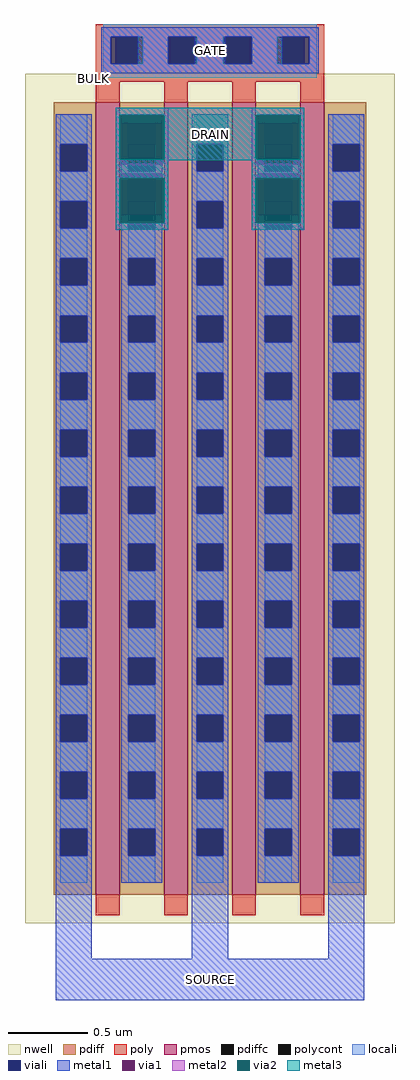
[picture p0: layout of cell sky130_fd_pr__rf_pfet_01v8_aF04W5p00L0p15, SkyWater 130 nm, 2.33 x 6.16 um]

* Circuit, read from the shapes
.subckt sky130_fd_pr__rf_pfet_01v8_aF04W5p00L0p15 DRAIN GATE SOURCE BULK
XM1 DRAIN GATE SOURCE BULK sky130_fd_pr__pfet_01v8 w=5 l=0.15 m=4
.ends

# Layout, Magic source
magic
tech sky130A
magscale 1 2
<< nwell >>
rect 0 0 466 1072
<< pmos >>
rect 89 36 119 1036
rect 175 36 205 1036
rect 261 36 291 1036
rect 347 36 377 1036
<< pdiff >>
rect 36 983 89 1036
rect 36 949 44 983
rect 78 949 89 983
rect 36 911 89 949
rect 36 877 44 911
rect 78 877 89 911
rect 36 839 89 877
rect 36 805 44 839
rect 78 805 89 839
rect 36 767 89 805
rect 36 733 44 767
rect 78 733 89 767
rect 36 695 89 733
rect 36 661 44 695
rect 78 661 89 695
rect 36 623 89 661
rect 36 589 44 623
rect 78 589 89 623
rect 36 551 89 589
rect 36 517 44 551
rect 78 517 89 551
rect 36 479 89 517
rect 36 445 44 479
rect 78 445 89 479
rect 36 407 89 445
rect 36 373 44 407
rect 78 373 89 407
rect 36 335 89 373
rect 36 301 44 335
rect 78 301 89 335
rect 36 263 89 301
rect 36 229 44 263
rect 78 229 89 263
rect 36 191 89 229
rect 36 157 44 191
rect 78 157 89 191
rect 36 119 89 157
rect 36 85 44 119
rect 78 85 89 119
rect 36 36 89 85
rect 119 983 175 1036
rect 119 949 130 983
rect 164 949 175 983
rect 119 911 175 949
rect 119 877 130 911
rect 164 877 175 911
rect 119 839 175 877
rect 119 805 130 839
rect 164 805 175 839
rect 119 767 175 805
rect 119 733 130 767
rect 164 733 175 767
rect 119 695 175 733
rect 119 661 130 695
rect 164 661 175 695
rect 119 623 175 661
rect 119 589 130 623
rect 164 589 175 623
rect 119 551 175 589
rect 119 517 130 551
rect 164 517 175 551
rect 119 479 175 517
rect 119 445 130 479
rect 164 445 175 479
rect 119 407 175 445
rect 119 373 130 407
rect 164 373 175 407
rect 119 335 175 373
rect 119 301 130 335
rect 164 301 175 335
rect 119 263 175 301
rect 119 229 130 263
rect 164 229 175 263
rect 119 191 175 229
rect 119 157 130 191
rect 164 157 175 191
rect 119 119 175 157
rect 119 85 130 119
rect 164 85 175 119
rect 119 36 175 85
rect 205 983 261 1036
rect 205 949 216 983
rect 250 949 261 983
rect 205 911 261 949
rect 205 877 216 911
rect 250 877 261 911
rect 205 839 261 877
rect 205 805 216 839
rect 250 805 261 839
rect 205 767 261 805
rect 205 733 216 767
rect 250 733 261 767
rect 205 695 261 733
rect 205 661 216 695
rect 250 661 261 695
rect 205 623 261 661
rect 205 589 216 623
rect 250 589 261 623
rect 205 551 261 589
rect 205 517 216 551
rect 250 517 261 551
rect 205 479 261 517
rect 205 445 216 479
rect 250 445 261 479
rect 205 407 261 445
rect 205 373 216 407
rect 250 373 261 407
rect 205 335 261 373
rect 205 301 216 335
rect 250 301 261 335
rect 205 263 261 301
rect 205 229 216 263
rect 250 229 261 263
rect 205 191 261 229
rect 205 157 216 191
rect 250 157 261 191
rect 205 119 261 157
rect 205 85 216 119
rect 250 85 261 119
rect 205 36 261 85
rect 291 983 347 1036
rect 291 949 302 983
rect 336 949 347 983
rect 291 911 347 949
rect 291 877 302 911
rect 336 877 347 911
rect 291 839 347 877
rect 291 805 302 839
rect 336 805 347 839
rect 291 767 347 805
rect 291 733 302 767
rect 336 733 347 767
rect 291 695 347 733
rect 291 661 302 695
rect 336 661 347 695
rect 291 623 347 661
rect 291 589 302 623
rect 336 589 347 623
rect 291 551 347 589
rect 291 517 302 551
rect 336 517 347 551
rect 291 479 347 517
rect 291 445 302 479
rect 336 445 347 479
rect 291 407 347 445
rect 291 373 302 407
rect 336 373 347 407
rect 291 335 347 373
rect 291 301 302 335
rect 336 301 347 335
rect 291 263 347 301
rect 291 229 302 263
rect 336 229 347 263
rect 291 191 347 229
rect 291 157 302 191
rect 336 157 347 191
rect 291 119 347 157
rect 291 85 302 119
rect 336 85 347 119
rect 291 36 347 85
rect 377 983 430 1036
rect 377 949 388 983
rect 422 949 430 983
rect 377 911 430 949
rect 377 877 388 911
rect 422 877 430 911
rect 377 839 430 877
rect 377 805 388 839
rect 422 805 430 839
rect 377 767 430 805
rect 377 733 388 767
rect 422 733 430 767
rect 377 695 430 733
rect 377 661 388 695
rect 422 661 430 695
rect 377 623 430 661
rect 377 589 388 623
rect 422 589 430 623
rect 377 551 430 589
rect 377 517 388 551
rect 422 517 430 551
rect 377 479 430 517
rect 377 445 388 479
rect 422 445 430 479
rect 377 407 430 445
rect 377 373 388 407
rect 422 373 430 407
rect 377 335 430 373
rect 377 301 388 335
rect 422 301 430 335
rect 377 263 430 301
rect 377 229 388 263
rect 422 229 430 263
rect 377 191 430 229
rect 377 157 388 191
rect 422 157 430 191
rect 377 119 430 157
rect 377 85 388 119
rect 422 85 430 119
rect 377 36 430 85
<< pdiffc >>
rect 44 949 78 983
rect 44 877 78 911
rect 44 805 78 839
rect 44 733 78 767
rect 44 661 78 695
rect 44 589 78 623
rect 44 517 78 551
rect 44 445 78 479
rect 44 373 78 407
rect 44 301 78 335
rect 44 229 78 263
rect 44 157 78 191
rect 44 85 78 119
rect 130 949 164 983
rect 130 877 164 911
rect 130 805 164 839
rect 130 733 164 767
rect 130 661 164 695
rect 130 589 164 623
rect 130 517 164 551
rect 130 445 164 479
rect 130 373 164 407
rect 130 301 164 335
rect 130 229 164 263
rect 130 157 164 191
rect 130 85 164 119
rect 216 949 250 983
rect 216 877 250 911
rect 216 805 250 839
rect 216 733 250 767
rect 216 661 250 695
rect 216 589 250 623
rect 216 517 250 551
rect 216 445 250 479
rect 216 373 250 407
rect 216 301 250 335
rect 216 229 250 263
rect 216 157 250 191
rect 216 85 250 119
rect 302 949 336 983
rect 302 877 336 911
rect 302 805 336 839
rect 302 733 336 767
rect 302 661 336 695
rect 302 589 336 623
rect 302 517 336 551
rect 302 445 336 479
rect 302 373 336 407
rect 302 301 336 335
rect 302 229 336 263
rect 302 157 336 191
rect 302 85 336 119
rect 388 949 422 983
rect 388 877 422 911
rect 388 805 422 839
rect 388 733 422 767
rect 388 661 422 695
rect 388 589 422 623
rect 388 517 422 551
rect 388 445 422 479
rect 388 373 422 407
rect 388 301 422 335
rect 388 229 422 263
rect 388 157 422 191
rect 388 85 422 119
<< poly >>
rect 89 1119 377 1135
rect 89 1085 114 1119
rect 148 1085 182 1119
rect 216 1085 250 1119
rect 284 1085 318 1119
rect 352 1085 377 1119
rect 89 1062 377 1085
rect 89 1036 119 1062
rect 175 1036 205 1062
rect 261 1036 291 1062
rect 347 1036 377 1062
rect 89 10 119 36
rect 175 10 205 36
rect 261 10 291 36
rect 347 10 377 36
<< polycont >>
rect 114 1085 148 1119
rect 182 1085 216 1119
rect 250 1085 284 1119
rect 318 1085 352 1119
<< locali >>
rect 98 1119 368 1135
rect 98 1085 108 1119
rect 148 1085 180 1119
rect 216 1085 250 1119
rect 286 1085 318 1119
rect 358 1085 368 1119
rect 98 1067 368 1085
rect 44 983 78 1021
rect 44 911 78 949
rect 44 839 78 877
rect 44 767 78 805
rect 44 695 78 733
rect 44 623 78 661
rect 44 551 78 589
rect 44 479 78 517
rect 44 407 78 445
rect 44 335 78 373
rect 44 263 78 301
rect 44 191 78 229
rect 44 119 78 157
rect 44 51 78 85
rect 130 983 164 1021
rect 130 911 164 949
rect 130 839 164 877
rect 130 767 164 805
rect 130 695 164 733
rect 130 623 164 661
rect 130 551 164 589
rect 130 479 164 517
rect 130 407 164 445
rect 130 335 164 373
rect 130 263 164 301
rect 130 191 164 229
rect 130 119 164 157
rect 130 51 164 85
rect 216 983 250 1021
rect 216 911 250 949
rect 216 839 250 877
rect 216 767 250 805
rect 216 695 250 733
rect 216 623 250 661
rect 216 551 250 589
rect 216 479 250 517
rect 216 407 250 445
rect 216 335 250 373
rect 216 263 250 301
rect 216 191 250 229
rect 216 119 250 157
rect 216 51 250 85
rect 302 983 336 1021
rect 302 911 336 949
rect 302 839 336 877
rect 302 767 336 805
rect 302 695 336 733
rect 302 623 336 661
rect 302 551 336 589
rect 302 479 336 517
rect 302 407 336 445
rect 302 335 336 373
rect 302 263 336 301
rect 302 191 336 229
rect 302 119 336 157
rect 302 51 336 85
rect 388 983 422 1021
rect 388 911 422 949
rect 388 839 422 877
rect 388 767 422 805
rect 388 695 422 733
rect 388 623 422 661
rect 388 551 422 589
rect 388 479 422 517
rect 388 407 422 445
rect 388 335 422 373
rect 388 263 422 301
rect 388 191 422 229
rect 388 119 422 157
rect 388 51 422 85
<< viali >>
rect 108 1085 114 1119
rect 114 1085 142 1119
rect 180 1085 182 1119
rect 182 1085 214 1119
rect 252 1085 284 1119
rect 284 1085 286 1119
rect 324 1085 352 1119
rect 352 1085 358 1119
rect 44 949 78 983
rect 44 877 78 911
rect 44 805 78 839
rect 44 733 78 767
rect 44 661 78 695
rect 44 589 78 623
rect 44 517 78 551
rect 44 445 78 479
rect 44 373 78 407
rect 44 301 78 335
rect 44 229 78 263
rect 44 157 78 191
rect 44 85 78 119
rect 130 949 164 983
rect 130 877 164 911
rect 130 805 164 839
rect 130 733 164 767
rect 130 661 164 695
rect 130 589 164 623
rect 130 517 164 551
rect 130 445 164 479
rect 130 373 164 407
rect 130 301 164 335
rect 130 229 164 263
rect 130 157 164 191
rect 130 85 164 119
rect 216 949 250 983
rect 216 877 250 911
rect 216 805 250 839
rect 216 733 250 767
rect 216 661 250 695
rect 216 589 250 623
rect 216 517 250 551
rect 216 445 250 479
rect 216 373 250 407
rect 216 301 250 335
rect 216 229 250 263
rect 216 157 250 191
rect 216 85 250 119
rect 302 949 336 983
rect 302 877 336 911
rect 302 805 336 839
rect 302 733 336 767
rect 302 661 336 695
rect 302 589 336 623
rect 302 517 336 551
rect 302 445 336 479
rect 302 373 336 407
rect 302 301 336 335
rect 302 229 336 263
rect 302 157 336 191
rect 302 85 336 119
rect 388 949 422 983
rect 388 877 422 911
rect 388 805 422 839
rect 388 733 422 767
rect 388 661 422 695
rect 388 589 422 623
rect 388 517 422 551
rect 388 445 422 479
rect 388 373 422 407
rect 388 301 422 335
rect 388 229 422 263
rect 388 157 422 191
rect 388 85 422 119
<< metal1 >>
rect 96 1119 370 1131
rect 96 1085 108 1119
rect 142 1085 180 1119
rect 214 1085 252 1119
rect 286 1085 324 1119
rect 358 1085 370 1119
rect 96 1073 370 1085
rect 38 983 84 1021
rect 38 949 44 983
rect 78 949 84 983
rect 38 911 84 949
rect 38 877 44 911
rect 78 877 84 911
rect 38 839 84 877
rect 38 805 44 839
rect 78 805 84 839
rect 38 767 84 805
rect 38 733 44 767
rect 78 733 84 767
rect 38 695 84 733
rect 38 661 44 695
rect 78 661 84 695
rect 38 623 84 661
rect 38 589 44 623
rect 78 589 84 623
rect 38 551 84 589
rect 38 517 44 551
rect 78 517 84 551
rect 38 479 84 517
rect 38 445 44 479
rect 78 445 84 479
rect 38 407 84 445
rect 38 373 44 407
rect 78 373 84 407
rect 38 335 84 373
rect 38 301 44 335
rect 78 301 84 335
rect 38 263 84 301
rect 38 229 44 263
rect 78 229 84 263
rect 38 191 84 229
rect 38 157 44 191
rect 78 157 84 191
rect 38 119 84 157
rect 38 85 44 119
rect 78 85 84 119
rect 38 -45 84 85
rect 121 1010 173 1021
rect 121 949 130 958
rect 164 949 173 958
rect 121 946 173 949
rect 121 877 130 894
rect 164 877 173 894
rect 121 839 173 877
rect 121 805 130 839
rect 164 805 173 839
rect 121 767 173 805
rect 121 733 130 767
rect 164 733 173 767
rect 121 695 173 733
rect 121 661 130 695
rect 164 661 173 695
rect 121 623 173 661
rect 121 589 130 623
rect 164 589 173 623
rect 121 551 173 589
rect 121 517 130 551
rect 164 517 173 551
rect 121 479 173 517
rect 121 445 130 479
rect 164 445 173 479
rect 121 407 173 445
rect 121 373 130 407
rect 164 373 173 407
rect 121 335 173 373
rect 121 301 130 335
rect 164 301 173 335
rect 121 263 173 301
rect 121 229 130 263
rect 164 229 173 263
rect 121 191 173 229
rect 121 157 130 191
rect 164 157 173 191
rect 121 119 173 157
rect 121 85 130 119
rect 164 85 173 119
rect 121 51 173 85
rect 210 983 256 1021
rect 210 949 216 983
rect 250 949 256 983
rect 210 911 256 949
rect 210 877 216 911
rect 250 877 256 911
rect 210 839 256 877
rect 210 805 216 839
rect 250 805 256 839
rect 210 767 256 805
rect 210 733 216 767
rect 250 733 256 767
rect 210 695 256 733
rect 210 661 216 695
rect 250 661 256 695
rect 210 623 256 661
rect 210 589 216 623
rect 250 589 256 623
rect 210 551 256 589
rect 210 517 216 551
rect 250 517 256 551
rect 210 479 256 517
rect 210 445 216 479
rect 250 445 256 479
rect 210 407 256 445
rect 210 373 216 407
rect 250 373 256 407
rect 210 335 256 373
rect 210 301 216 335
rect 250 301 256 335
rect 210 263 256 301
rect 210 229 216 263
rect 250 229 256 263
rect 210 191 256 229
rect 210 157 216 191
rect 250 157 256 191
rect 210 119 256 157
rect 210 85 216 119
rect 250 85 256 119
rect 210 -45 256 85
rect 293 1010 345 1021
rect 293 949 302 958
rect 336 949 345 958
rect 293 946 345 949
rect 293 877 302 894
rect 336 877 345 894
rect 293 839 345 877
rect 293 805 302 839
rect 336 805 345 839
rect 293 767 345 805
rect 293 733 302 767
rect 336 733 345 767
rect 293 695 345 733
rect 293 661 302 695
rect 336 661 345 695
rect 293 623 345 661
rect 293 589 302 623
rect 336 589 345 623
rect 293 551 345 589
rect 293 517 302 551
rect 336 517 345 551
rect 293 479 345 517
rect 293 445 302 479
rect 336 445 345 479
rect 293 407 345 445
rect 293 373 302 407
rect 336 373 345 407
rect 293 335 345 373
rect 293 301 302 335
rect 336 301 345 335
rect 293 263 345 301
rect 293 229 302 263
rect 336 229 345 263
rect 293 191 345 229
rect 293 157 302 191
rect 336 157 345 191
rect 293 119 345 157
rect 293 85 302 119
rect 336 85 345 119
rect 293 51 345 85
rect 382 983 428 1021
rect 382 949 388 983
rect 422 949 428 983
rect 382 911 428 949
rect 382 877 388 911
rect 422 877 428 911
rect 382 839 428 877
rect 382 805 388 839
rect 422 805 428 839
rect 382 767 428 805
rect 382 733 388 767
rect 422 733 428 767
rect 382 695 428 733
rect 382 661 388 695
rect 422 661 428 695
rect 382 623 428 661
rect 382 589 388 623
rect 422 589 428 623
rect 382 551 428 589
rect 382 517 388 551
rect 422 517 428 551
rect 382 479 428 517
rect 382 445 388 479
rect 422 445 428 479
rect 382 407 428 445
rect 382 373 388 407
rect 422 373 428 407
rect 382 335 428 373
rect 382 301 388 335
rect 422 301 428 335
rect 382 263 428 301
rect 382 229 388 263
rect 422 229 428 263
rect 382 191 428 229
rect 382 157 388 191
rect 422 157 428 191
rect 382 119 428 157
rect 382 85 388 119
rect 422 85 428 119
rect 382 -45 428 85
rect 38 -97 428 -45
<< via1 >>
rect 121 983 173 1010
rect 121 958 130 983
rect 130 958 164 983
rect 164 958 173 983
rect 121 911 173 946
rect 121 894 130 911
rect 130 894 164 911
rect 164 894 173 911
rect 293 983 345 1010
rect 293 958 302 983
rect 302 958 336 983
rect 336 958 345 983
rect 293 911 345 946
rect 293 894 302 911
rect 302 894 336 911
rect 336 894 345 911
<< metal2 >>
rect 114 1020 180 1029
rect 114 964 119 1020
rect 175 964 180 1020
rect 114 958 121 964
rect 173 958 180 964
rect 114 946 180 958
rect 114 940 121 946
rect 173 940 180 946
rect 114 884 119 940
rect 175 884 180 940
rect 114 875 180 884
rect 286 1020 352 1029
rect 286 964 291 1020
rect 347 964 352 1020
rect 286 958 293 964
rect 345 958 352 964
rect 286 946 352 958
rect 286 940 293 946
rect 345 940 352 946
rect 286 884 291 940
rect 347 884 352 940
rect 286 875 352 884
<< via2 >>
rect 119 1010 175 1020
rect 119 964 121 1010
rect 121 964 173 1010
rect 173 964 175 1010
rect 119 894 121 940
rect 121 894 173 940
rect 173 894 175 940
rect 119 884 175 894
rect 291 1010 347 1020
rect 291 964 293 1010
rect 293 964 345 1010
rect 345 964 347 1010
rect 291 894 293 940
rect 293 894 345 940
rect 345 894 347 940
rect 291 884 347 894
<< metal3 >>
rect 114 1020 352 1029
rect 114 964 119 1020
rect 175 964 291 1020
rect 347 964 352 1020
rect 114 963 352 964
rect 114 940 180 963
rect 114 884 119 940
rect 175 884 180 940
rect 114 875 180 884
rect 286 940 352 963
rect 286 884 291 940
rect 347 884 352 940
rect 286 875 352 884
<< labels >>
flabel metal3 s 114 963 352 1029 0 FreeSans 400 0 0 0 DRAIN
port 1 nsew
flabel metal1 s 96 1073 370 1131 0 FreeSans 400 0 0 0 GATE
port 2 nsew
flabel metal1 s 38 -97 428 -45 0 FreeSans 400 0 0 0 SOURCE
port 3 nsew
flabel nwell s 84 1063 88 1070 0 FreeSans 400 0 0 0 BULK
port 4 nsew
<< properties >>
string GDS_FILE $PDKPATH/libs.ref/sky130_fd_pr/gds/sky130_fd_pr.gds
string GDS_END 9210106
string GDS_START 9196386
string path 0.950 -1.775 10.700 -1.775 
<< end >>
